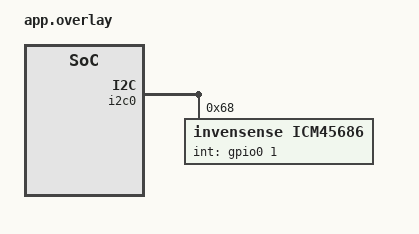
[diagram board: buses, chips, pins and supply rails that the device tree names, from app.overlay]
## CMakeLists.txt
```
# Copyright The Zephyr Project Contributors
# SPDX-License-Identifier: Apache-2.0

cmake_minimum_required(VERSION 3.28.0)
find_package(Zephyr REQUIRED HINTS $ENV{ZEPHYR_BASE})
project(icm45686)

target_include_directories(app PRIVATE
  ${ZEPHYR_BASE}/drivers/sensor/tdk/icm45686
  ${ZEPHYR_HAL_TDK_MODULE_DIR}/icm456xx
  ${ZEPHYR_HAL_TDK_MODULE_DIR}/icm456xx/icm456xx_h
)
target_sources(app PRIVATE src/main.c)
```

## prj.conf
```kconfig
# Copyright The Zephyr Project Contributors
# SPDX-License-Identifier: Apache-2.0

CONFIG_ZTEST=y
CONFIG_SENSOR=y
CONFIG_SENSOR_ASYNC_API=y
CONFIG_EMUL=y
CONFIG_GPIO=y
CONFIG_ICM45686_TRIGGER_NONE=y
# No emulator backs the device, only its decoder is tested
CONFIG_SENSOR_LOG_LEVEL_OFF=y
```

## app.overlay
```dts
/*
 * Copyright The Zephyr Project Contributors
 *
 * SPDX-License-Identifier: Apache-2.0
 */

#include <zephyr/dt-bindings/gpio/gpio.h>

&i2c0 {
	icm45686: icm45686@68 {
		compatible = "invensense,icm45686";
		reg = <0x68>;
		int-gpios = <&gpio0 1 GPIO_ACTIVE_HIGH>;
		fifo-watermark = <4>;
	};
};
```

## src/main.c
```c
/*
 * Copyright The Zephyr Project Contributors
 *
 * SPDX-License-Identifier: Apache-2.0
 */

#include <string.h>

#include <zephyr/drivers/sensor.h>
#include <zephyr/sys/byteorder.h>
#include <zephyr/ztest.h>

#include "icm45686.h"
#include "icm45686_reg.h"

/* Allowed error of a decoded value, in micro-units */
#define TOLERANCE_MICRO 50

#define TIMESTAMP_NS   5000000000ULL
#define NUM_FRAMES     4
#define NS_PER_HW_TICK 16000ULL

#define FIFO_HEADER                                                                                \
	(FIFO_HEADER_ACCEL_EN(true) | FIFO_HEADER_GYRO_EN(true) | FIFO_HEADER_HIRES_EN(true))

static const struct sensor_decoder_api *decoder = SENSOR_DECODER_DT_GET(DT_NODELABEL(icm45686));

static const struct sensor_chan_spec accel_xyz = {SENSOR_CHAN_ACCEL_XYZ, 0};
static const struct sensor_chan_spec gyro_xyz = {SENSOR_CHAN_GYRO_XYZ, 0};
static const struct sensor_chan_spec die_temp = {SENSOR_CHAN_DIE_TEMP, 0};

static const uint32_t accel_fs_g[] = {
	[ICM45686_DT_ACCEL_FS_32] = 32, [ICM45686_DT_ACCEL_FS_16] = 16,
	[ICM45686_DT_ACCEL_FS_8] = 8,   [ICM45686_DT_ACCEL_FS_4] = 4,
	[ICM45686_DT_ACCEL_FS_2] = 2,
};

static const int8_t accel_shift[] = {
	[ICM45686_DT_ACCEL_FS_32] = 9, [ICM45686_DT_ACCEL_FS_16] = 8, [ICM45686_DT_ACCEL_FS_8] = 7,
	[ICM45686_DT_ACCEL_FS_4] = 6,  [ICM45686_DT_ACCEL_FS_2] = 5,
};

static const uint32_t gyro_fs_mdps[] = {
	[ICM45686_DT_GYRO_FS_4000] = 4000000, [ICM45686_DT_GYRO_FS_2000] = 2000000,
	[ICM45686_DT_GYRO_FS_1000] = 1000000, [ICM45686_DT_GYRO_FS_500] = 500000,
	[ICM45686_DT_GYRO_FS_250] = 250000,   [ICM45686_DT_GYRO_FS_125] = 125000,
	[ICM45686_DT_GYRO_FS_62_5] = 62500,   [ICM45686_DT_GYRO_FS_31_25] = 31250,
	[ICM45686_DT_GYRO_FS_15_625] = 15625,
};

static const int8_t gyro_shift[] = {
	[ICM45686_DT_GYRO_FS_4000] = 12,  [ICM45686_DT_GYRO_FS_2000] = 11,
	[ICM45686_DT_GYRO_FS_1000] = 10,  [ICM45686_DT_GYRO_FS_500] = 9,
	[ICM45686_DT_GYRO_FS_250] = 8,    [ICM45686_DT_GYRO_FS_125] = 7,
	[ICM45686_DT_GYRO_FS_62_5] = 6,   [ICM45686_DT_GYRO_FS_31_25] = 5,
	[ICM45686_DT_GYRO_FS_15_625] = 4,
};

/* Samples of the single sample buffers */
static const int16_t accel_raw[3] = {16384, -12345, 32767};
static const int16_t gyro_raw[3] = {-32768, 1000, 16384};
static const int16_t temp_raw = 1325;

/* Encoded single sample, or header followed by FIFO packets */
static union {
	struct icm45686_encoded_data edata;
	uint8_t bytes[sizeof(struct icm45686_encoded_data) +
		      NUM_FRAMES * sizeof(struct icm45686_encoded_fifo_payload)];
} buf;

static const uint8_t *const buffer = buf.bytes;

static int64_t q31_to_micro(q31_t value, int8_t shift)
{
	return ((int64_t)value * 1000000) >> (31 - shift);
}

/* Expected values in micro-m/s^2, micro-rad/s and micro-degC */
static int64_t accel_micro(int32_t raw, uint8_t bits, uint8_t fs)
{
	return (int64_t)raw * accel_fs_g[fs] * SENSOR_G / (1LL << (bits - 1));
}

static int64_t gyro_micro(int32_t raw, uint8_t bits, uint8_t fs)
{
	return (int64_t)raw * gyro_fs_mdps[fs] * SENSOR_PI / (180000LL << (bits - 1));
}

static int64_t temp_micro(int16_t raw)
{
	return (int64_t)raw * 100000000 / 13248 + 25000000;
}

static void check_value(q31_t value, int8_t shift, int64_t expected)
{
	int64_t actual = q31_to_micro(value, shift);

	zassert_within(actual, expected, TOLERANCE_MICRO, "got %lld, expected %lld", actual,
		       expected);
}

static void check_unsupported(struct sensor_chan_spec chan)
{
	struct sensor_three_axis_data out;
	uint16_t frame_count;
	uint32_t fit = 0;

	zassert_equal(decoder->get_frame_count(buffer, chan, &frame_count), -ENOTSUP);
	zassert_equal(decoder->decode(buffer, chan, &fit, 1, &out), -ENOTSUP);
}

static void fill_single(uint8_t accel_fs, uint8_t gyro_fs, uint8_t events)
{
	uint8_t *payload = buf.edata.payload.buf;

	memset(&buf, 0, sizeof(buf));
	buf.edata.header.timestamp = TIMESTAMP_NS;
	buf.edata.header.accel_fs = accel_fs;
	buf.edata.header.gyro_fs = gyro_fs;
	buf.edata.header.events = events;
	buf.edata.header.channels = BIT_MASK(7);

	for (int i = 0; i < 3; i++) {
		sys_put_le16((uint16_t)accel_raw[i], &payload[i * 2]);
		sys_put_le16((uint16_t)gyro_raw[i], &payload[6 + i * 2]);
	}
	sys_put_le16((uint16_t)temp_raw, &payload[12]);
}

/* Write a 20-bit sample: MSB word at msb_offset, low nibble in the LSB byte */
static void put_20bit(uint8_t *frame, size_t msb_offset, uint8_t *lsb, int32_t raw,
		      bool high_nibble)
{
	sys_put_le16((uint16_t)((uint32_t)raw >> 4), &frame[msb_offset]);
	*lsb |= high_nibble ? ((raw & 0xF) << 4) : (raw & 0xF);
}

static uint8_t *fifo_frame(int i)
{
	return buf.edata.fifo_payload[i].buf;
}

static void put_fifo_frame(int i, const int32_t accel[3], const int32_t gyro[3], int16_t temp,
			   uint16_t hw_ts)
{
	uint8_t *frame = fifo_frame(i);
	uint8_t *lsb = &frame[offsetof(struct icm45686_encoded_fifo_payload, lsb)];

	memset(frame, 0, sizeof(struct icm45686_encoded_fifo_payload));
	frame[0] = FIFO_HEADER;
	for (int a = 0; a < 3; a++) {
		put_20bit(frame, 1 + a * 2, &lsb[a], accel[a], true);
		put_20bit(frame, 7 + a * 2, &lsb[a], gyro[a], false);
	}
	sys_put_le16((uint16_t)temp, &frame[13]);
	sys_put_le16(hw_ts, &frame[15]);
}

static int32_t fifo_accel(int i, int a)
{
	return (i * 100000 + a * 1111) * ((a == 1) ? -1 : 1) + 7;
}

static int32_t fifo_gyro(int i, int a)
{
	return -(i * 120000 + a * 3333) * ((a == 2) ? -1 : 1) - 5;
}

static int16_t fifo_temp(int i)
{
	/* Down to below 0 degC */
	return (int16_t)(1000 - i * 2000);
}

static uint16_t fifo_hw_ts(int i, uint16_t first, uint16_t step)
{
	return (uint16_t)(first + i * step);
}

/* Fill FIFO frames with hardware timestamps first + i * step */
static void fill_fifo(uint8_t events, uint16_t first, uint16_t step)
{
	memset(&buf, 0, sizeof(buf));
	buf.edata.header.timestamp = TIMESTAMP_NS;
	buf.edata.header.accel_fs = ICM45686_DT_ACCEL_FS_32;
	buf.edata.header.gyro_fs = ICM45686_DT_GYRO_FS_4000;
	buf.edata.header.events = events;
	buf.edata.header.channels = BIT_MASK(7);
	buf.edata.header.fifo_count = NUM_FRAMES;

	for (int i = 0; i < NUM_FRAMES; i++) {
		int32_t accel[3];
		int32_t gyro[3];

		for (int a = 0; a < 3; a++) {
			accel[a] = fifo_accel(i, a);
			gyro[a] = fifo_gyro(i, a);
		}
		put_fifo_frame(i, accel, gyro, fifo_temp(i), fifo_hw_ts(i, first, step));
	}
}

static uint64_t fifo_timestamp(int i, uint16_t step)
{
	return TIMESTAMP_NS - (uint64_t)(NUM_FRAMES - 1 - i) * step * NS_PER_HW_TICK;
}

ZTEST(icm45686_decoder, test_size_info)
{
	size_t base_size;
	size_t frame_size;

	zassert_ok(decoder->get_size_info(accel_xyz, &base_size, &frame_size));
	zassert_equal(base_size, sizeof(struct sensor_three_axis_data));
	zassert_equal(frame_size, sizeof(struct sensor_three_axis_sample_data));

	zassert_ok(decoder->get_size_info(gyro_xyz, &base_size, &frame_size));
	zassert_equal(base_size, sizeof(struct sensor_three_axis_data));
	zassert_equal(frame_size, sizeof(struct sensor_three_axis_sample_data));

	zassert_ok(decoder->get_size_info((struct sensor_chan_spec){SENSOR_CHAN_GYRO_Y, 0},
					  &base_size, &frame_size));
	zassert_equal(base_size, sizeof(struct sensor_q31_data));
	zassert_equal(frame_size, sizeof(struct sensor_q31_sample_data));

	zassert_ok(decoder->get_size_info(die_temp, &base_size, &frame_size));
	zassert_equal(base_size, sizeof(struct sensor_q31_data));
	zassert_equal(frame_size, sizeof(struct sensor_q31_sample_data));

	zassert_equal(decoder->get_size_info((struct sensor_chan_spec){SENSOR_CHAN_MAGN_XYZ, 0},
					     &base_size, &frame_size),
		      -ENOTSUP);
	zassert_equal(decoder->get_size_info((struct sensor_chan_spec){SENSOR_CHAN_ACCEL_XYZ, 1},
					     &base_size, &frame_size),
		      -ENOTSUP);
}

static void check_single_xyz(struct sensor_chan_spec chan, int8_t shift, const int64_t exp[3])
{
	struct sensor_three_axis_data out;
	uint16_t frame_count;
	uint32_t fit = 0;

	zassert_ok(decoder->get_frame_count(buffer, chan, &frame_count));
	zassert_equal(frame_count, 1);

	zassert_equal(decoder->decode(buffer, chan, &fit, 1, &out), 1);
	zassert_equal(out.header.reading_count, 1);
	zassert_equal(out.header.base_timestamp_ns, TIMESTAMP_NS);
	zassert_equal(out.readings[0].timestamp_delta, 0);
	zassert_equal(out.shift, shift);
	for (int a = 0; a < 3; a++) {
		check_value(out.readings[0].values[a], out.shift, exp[a]);
	}
	zassert_equal(decoder->decode(buffer, chan, &fit, 1, &out), 0);
}

static void check_single_q31(struct sensor_chan_spec chan, int8_t shift, int64_t exp)
{
	struct sensor_q31_data out;
	uint16_t frame_count;
	uint32_t fit = 0;

	zassert_ok(decoder->get_frame_count(buffer, chan, &frame_count));
	zassert_equal(frame_count, 1);

	zassert_equal(decoder->decode(buffer, chan, &fit, 1, &out), 1);
	zassert_equal(out.header.reading_count, 1);
	zassert_equal(out.header.base_timestamp_ns, TIMESTAMP_NS);
	zassert_equal(out.readings[0].timestamp_delta, 0);
	zassert_equal(out.shift, shift);
	check_value(out.readings[0].value, out.shift, exp);
	zassert_equal(decoder->decode(buffer, chan, &fit, 1, &out), 0);
}

ZTEST(icm45686_decoder, test_single_accel)
{
	for (uint8_t fs = 0; fs < ARRAY_SIZE(accel_fs_g); fs++) {
		int64_t exp[3];

		fill_single(fs, ICM45686_DT_GYRO_FS_2000, 0);
		for (int a = 0; a < 3; a++) {
			exp[a] = accel_micro(accel_raw[a], 16, fs);
		}

		check_single_xyz(accel_xyz, accel_shift[fs], exp);
		for (int a = 0; a < 3; a++) {
			struct sensor_chan_spec chan = {SENSOR_CHAN_ACCEL_X + a, 0};

			check_single_q31(chan, accel_shift[fs], exp[a]);
		}
	}
}

ZTEST(icm45686_decoder, test_single_gyro)
{
	for (uint8_t fs = 0; fs < ARRAY_SIZE(gyro_fs_mdps); fs++) {
		int64_t exp[3];

		fill_single(ICM45686_DT_ACCEL_FS_16, fs, 0);
		for (int a = 0; a < 3; a++) {
			exp[a] = gyro_micro(gyro_raw[a], 16, fs);
		}

		check_single_xyz(gyro_xyz, gyro_shift[fs], exp);
		for (int a = 0; a < 3; a++) {
			struct sensor_chan_spec chan = {SENSOR_CHAN_GYRO_X + a, 0};

			check_single_q31(chan, gyro_shift[fs], exp[a]);
		}
	}
}

ZTEST(icm45686_decoder, test_single_temp)
{
	fill_single(ICM45686_DT_ACCEL_FS_16, ICM45686_DT_GYRO_FS_2000, 0);
	check_single_q31(die_temp, 9, temp_micro(temp_raw));

	/* Below 0 degC */
	sys_put_le16((uint16_t)-5000, &buf.edata.payload.buf[12]);
	check_single_q31(die_temp, 9, temp_micro(-5000));
}

ZTEST(icm45686_decoder, test_single_channels)
{
	struct sensor_three_axis_data out;
	uint16_t frame_count;
	uint32_t fit = 0;

	fill_single(ICM45686_DT_ACCEL_FS_16, ICM45686_DT_GYRO_FS_2000, 0);

	/* Only the accelerometer was read */
	buf.edata.header.channels = BIT_MASK(3);
	zassert_ok(decoder->get_frame_count(buffer, accel_xyz, &frame_count));
	zassert_equal(decoder->get_frame_count(buffer, gyro_xyz, &frame_count), -ENODATA);
	zassert_equal(decoder->decode(buffer, gyro_xyz, &fit, 1, &out), -ENODATA);
	zassert_equal(decoder->get_frame_count(buffer, die_temp, &frame_count), -ENODATA);
	zassert_equal(decoder->decode(buffer, die_temp, &fit, 1, &out), -ENODATA);

	/* Only the Y axis was read */
	buf.edata.header.channels = BIT(1);
	zassert_equal(decoder->get_frame_count(buffer, accel_xyz, &frame_count), -ENODATA);
	zassert_ok(decoder->get_frame_count(
		buffer, (struct sensor_chan_spec){SENSOR_CHAN_ACCEL_Y, 0}, &frame_count));
	zassert_equal(frame_count, 1);

	check_unsupported((struct sensor_chan_spec){SENSOR_CHAN_MAGN_XYZ, 0});
	check_unsupported((struct sensor_chan_spec){SENSOR_CHAN_ACCEL_XYZ, 1});

	zassert_false(decoder->has_trigger(buffer, SENSOR_TRIG_DATA_READY));
	zassert_false(decoder->has_trigger(buffer, SENSOR_TRIG_FIFO_WATERMARK));
	zassert_false(decoder->has_trigger(buffer, SENSOR_TRIG_FIFO_FULL));
}

ZTEST(icm45686_decoder, test_data_ready)
{
	uint16_t frame_count;
	int64_t exp[3];

	fill_single(ICM45686_DT_ACCEL_FS_8, ICM45686_DT_GYRO_FS_250, REG_INT1_STATUS0_DRDY(true));
	for (int a = 0; a < 3; a++) {
		exp[a] = accel_micro(accel_raw[a], 16, ICM45686_DT_ACCEL_FS_8);
	}

	check_single_xyz(accel_xyz, 7, exp);
	check_single_q31(die_temp, 9, temp_micro(temp_raw));
	zassert_true(decoder->has_trigger(buffer, SENSOR_TRIG_DATA_READY));
	zassert_false(decoder->has_trigger(buffer, SENSOR_TRIG_FIFO_WATERMARK));
	zassert_false(decoder->has_trigger(buffer, SENSOR_TRIG_FIFO_FULL));
	zassert_false(decoder->has_trigger(buffer, SENSOR_TRIG_TAP));

	/* Event without data, for SENSOR_STREAM_DATA_NOP or _DROP */
	buf.edata.header.channels = 0;
	zassert_equal(decoder->get_frame_count(buffer, accel_xyz, &frame_count), -ENODATA);
	zassert_true(decoder->has_trigger(buffer, SENSOR_TRIG_DATA_READY));
}

static void check_fifo_xyz(struct sensor_chan_spec chan, uint16_t step)
{
	struct {
		struct sensor_three_axis_data data;
		struct sensor_three_axis_sample_data extra[NUM_FRAMES - 1];
	} out;
	const struct sensor_three_axis_sample_data *readings = out.data.readings;
	bool accel = chan.chan_type == SENSOR_CHAN_ACCEL_XYZ;
	int8_t shift = accel ? 9 : 12;
	uint16_t frame_count;
	uint32_t fit = 0;

	zassert_ok(decoder->get_frame_count(buffer, chan, &frame_count));
	zassert_equal(frame_count, NUM_FRAMES);

	zassert_equal(decoder->decode(buffer, chan, &fit, NUM_FRAMES, &out), NUM_FRAMES);
	zassert_equal(out.data.header.reading_count, NUM_FRAMES);
	zassert_equal(out.data.header.base_timestamp_ns, fifo_timestamp(0, step));
	zassert_equal(out.data.shift, shift);

	for (int i = 0; i < NUM_FRAMES; i++) {
		zassert_equal(out.data.header.base_timestamp_ns + readings[i].timestamp_delta,
			      fifo_timestamp(i, step));
		for (int a = 0; a < 3; a++) {
			check_value(
				readings[i].values[a], shift,
				accel ? accel_micro(fifo_accel(i, a), 20, ICM45686_DT_ACCEL_FS_32)
				      : gyro_micro(fifo_gyro(i, a), 20, ICM45686_DT_GYRO_FS_4000));
		}
	}
	zassert_equal(decoder->decode(buffer, chan, &fit, NUM_FRAMES, &out), 0);

	/* One reading at a time */
	fit = 0;
	for (int i = 0; i < NUM_FRAMES; i++) {
		zassert_equal(decoder->decode(buffer, chan, &fit, 1, &out), 1);
		zassert_equal(out.data.header.reading_count, 1);
		zassert_equal(out.data.header.base_timestamp_ns + readings[0].timestamp_delta,
			      fifo_timestamp(i, step));
		check_value(readings[0].values[0], shift,
			    accel ? accel_micro(fifo_accel(i, 0), 20, ICM45686_DT_ACCEL_FS_32)
				  : gyro_micro(fifo_gyro(i, 0), 20, ICM45686_DT_GYRO_FS_4000));
	}
	zassert_equal(decoder->decode(buffer, chan, &fit, 1, &out), 0);
}

static void check_fifo_temp(uint16_t step)
{
	struct {
		struct sensor_q31_data data;
		struct sensor_q31_sample_data extra[NUM_FRAMES - 1];
	} out;
	const struct sensor_q31_sample_data *readings = out.data.readings;
	uint16_t frame_count;
	uint32_t fit = 0;

	zassert_ok(decoder->get_frame_count(buffer, die_temp, &frame_count));
	zassert_equal(frame_count, NUM_FRAMES);

	zassert_equal(decoder->decode(buffer, die_temp, &fit, NUM_FRAMES, &out), NUM_FRAMES);
	zassert_equal(out.data.header.reading_count, NUM_FRAMES);
	zassert_equal(out.data.shift, 9);
	for (int i = 0; i < NUM_FRAMES; i++) {
		zassert_equal(out.data.header.base_timestamp_ns + readings[i].timestamp_delta,
			      fifo_timestamp(i, step));
		check_value(readings[i].temperature, 9, temp_micro(fifo_temp(i)));
	}
	zassert_equal(decoder->decode(buffer, die_temp, &fit, NUM_FRAMES, &out), 0);
}

ZTEST(icm45686_decoder, test_fifo_watermark)
{
	/* 1 kHz, the hardware timestamp wraps between frames 0 and 1 */
	fill_fifo(REG_INT1_STATUS0_FIFO_THS(true), 65500, 62);

	check_fifo_xyz(accel_xyz, 62);
	check_fifo_xyz(gyro_xyz, 62);
	check_fifo_temp(62);

	/* Individual axes are only decoded from single samples */
	check_unsupported((struct sensor_chan_spec){SENSOR_CHAN_ACCEL_X, 0});
	check_unsupported((struct sensor_chan_spec){SENSOR_CHAN_GYRO_Z, 0});
	check_unsupported((struct sensor_chan_spec){SENSOR_CHAN_GYRO_XYZ, 1});
	check_unsupported((struct sensor_chan_spec){SENSOR_CHAN_MAGN_XYZ, 0});

	zassert_false(decoder->has_trigger(buffer, SENSOR_TRIG_DATA_READY));
	zassert_true(decoder->has_trigger(buffer, SENSOR_TRIG_FIFO_WATERMARK));
	zassert_false(decoder->has_trigger(buffer, SENSOR_TRIG_FIFO_FULL));
}

ZTEST(icm45686_decoder, test_fifo_full)
{
	/* The full scale of FIFO packets does not depend on the header */
	fill_fifo(REG_INT1_STATUS0_FIFO_FULL(true), 100, 12500);
	buf.edata.header.accel_fs = ICM45686_DT_ACCEL_FS_2;
	buf.edata.header.gyro_fs = ICM45686_DT_GYRO_FS_125;

	/* 5 Hz: the frames span 600 ms */
	check_fifo_xyz(accel_xyz, 12500);
	check_fifo_xyz(gyro_xyz, 12500);
	check_fifo_temp(12500);

	zassert_false(decoder->has_trigger(buffer, SENSOR_TRIG_DATA_READY));
	zassert_false(decoder->has_trigger(buffer, SENSOR_TRIG_FIFO_WATERMARK));
	zassert_true(decoder->has_trigger(buffer, SENSOR_TRIG_FIFO_FULL));
}

ZTEST(icm45686_decoder, test_fifo_no_data)
{
	struct {
		struct sensor_three_axis_data data;
		struct sensor_three_axis_sample_data extra[NUM_FRAMES - 1];
	} out;
	const struct sensor_three_axis_sample_data *readings = out.data.readings;
	uint16_t frame_count;
	uint32_t fit = 0;

	fill_fifo(REG_INT1_STATUS0_FIFO_THS(true), 1000, 50);

	/* No accelerometer data in frame 1 */
	sys_put_le16(FIFO_NO_DATA, &fifo_frame(1)[3]);

	zassert_ok(decoder->get_frame_count(buffer, accel_xyz, &frame_count));
	zassert_equal(frame_count, NUM_FRAMES);

	zassert_equal(decoder->decode(buffer, accel_xyz, &fit, NUM_FRAMES, &out), NUM_FRAMES - 1);
	zassert_equal(out.data.header.reading_count, NUM_FRAMES - 1);
	zassert_equal(out.data.header.base_timestamp_ns, fifo_timestamp(0, 50));
	zassert_equal(readings[0].timestamp_delta, 0);
	zassert_equal(readings[1].timestamp_delta, 2 * 50 * NS_PER_HW_TICK);
	zassert_equal(readings[2].timestamp_delta, 3 * 50 * NS_PER_HW_TICK);
	check_value(readings[1].x, 9, accel_micro(fifo_accel(2, 0), 20, ICM45686_DT_ACCEL_FS_32));
	zassert_equal(decoder->decode(buffer, accel_xyz, &fit, NUM_FRAMES, &out), 0);

	fit = 0;
	for (int i = 0; i < NUM_FRAMES; i++) {
		if (i == 1) {
			continue;
		}
		zassert_equal(decoder->decode(buffer, accel_xyz, &fit, 1, &out), 1);
		zassert_equal(out.data.header.base_timestamp_ns, fifo_timestamp(i, 50));
	}
	zassert_equal(decoder->decode(buffer, accel_xyz, &fit, 1, &out), 0);

	/* The gyroscope data of frame 1 is valid */
	fit = 0;
	zassert_equal(decoder->decode(buffer, gyro_xyz, &fit, NUM_FRAMES, &out), NUM_FRAMES);
}

ZTEST(icm45686_decoder, test_fifo_bad_packet)
{
	struct sensor_three_axis_data out;
	uint32_t fit = 0;

	fill_fifo(REG_INT1_STATUS0_FIFO_THS(true), 1000, 50);
	fifo_frame(0)[0] |= FIFO_HEADER_EXT_HEADER_EN(true);

	zassert_equal(decoder->decode(buffer, accel_xyz, &fit, 1, &out), -ENOTSUP);
}

ZTEST(icm45686_decoder, test_fifo_empty)
{
	struct sensor_three_axis_data out;
	uint16_t frame_count;
	uint32_t fit = 0;

	/* Event without data, for SENSOR_STREAM_DATA_NOP or _DROP */
	memset(&buf, 0, sizeof(struct icm45686_encoded_header));
	buf.edata.header.events = REG_INT1_STATUS0_FIFO_THS(true);

	zassert_ok(decoder->get_frame_count(buffer, accel_xyz, &frame_count));
	zassert_equal(frame_count, 0);
	zassert_equal(decoder->decode(buffer, accel_xyz, &fit, 1, &out), 0);
	zassert_ok(decoder->get_frame_count(buffer, die_temp, &frame_count));
	zassert_equal(frame_count, 0);
	zassert_true(decoder->has_trigger(buffer, SENSOR_TRIG_FIFO_WATERMARK));
}

ZTEST_SUITE(icm45686_decoder, NULL, NULL, NULL, NULL, NULL);
```
